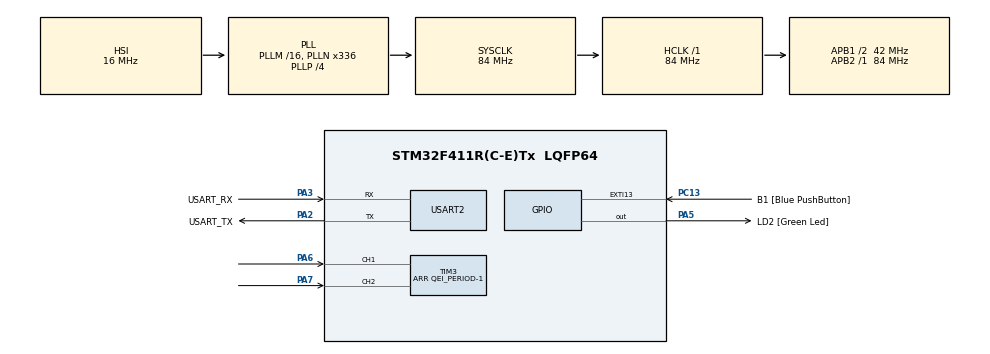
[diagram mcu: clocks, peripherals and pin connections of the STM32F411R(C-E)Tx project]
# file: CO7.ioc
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Mcu.Family=STM32F4
Mcu.Name=STM32F411R(C-E)Tx
Mcu.Package=LQFP64
Mcu.UserConstants=QEI_PERIOD,64512
NVIC.PriorityGroup=NVIC_PRIORITYGROUP_0
NVIC.TIM5_IRQn=true\:0\:0\:false\:false\:true\:true\:true\:true
PA13.GPIO_Label=TMS
PA13.Mode=Trace_Asynchronous_SW
PA13.Signal=SYS_JTMS-SWDIO
PA14.GPIO_Label=TCK
PA14.Mode=Trace_Asynchronous_SW
PA14.Signal=SYS_JTCK-SWCLK
PA2.GPIO_Label=USART_TX
PA2.Mode=Asynchronous
PA2.Signal=USART2_TX
PA3.GPIO_Label=USART_RX
PA3.Mode=Asynchronous
PA3.Signal=USART2_RX
PA5.GPIO_Label=LD2 [Green Led]
PA5.Signal=GPIO_Output
PA6.Signal=S_TIM3_CH1
PA7.Signal=S_TIM3_CH2
PB3.GPIO_Label=SWO
PB3.Mode=Trace_Asynchronous_SW
PB3.Signal=SYS_JTDO-SWO
PC13-ANTI_TAMP.GPIO_Label=B1 [Blue PushButton]
PC13-ANTI_TAMP.GPIO_ModeDefaultEXTI=GPIO_MODE_IT_FALLING
PC13-ANTI_TAMP.Signal=GPXTI13
PC14-OSC32_IN.Mode=LSE-External-Oscillator
PC14-OSC32_IN.Signal=RCC_OSC32_IN
PC15-OSC32_OUT.Mode=LSE-External-Oscillator
PC15-OSC32_OUT.Signal=RCC_OSC32_OUT
PH0\ -\ OSC_IN.Mode=HSE-External-Clock-Source
PH0\ -\ OSC_IN.Signal=RCC_OSC_IN
PH1\ -\ OSC_OUT.Mode=HSE-External-Clock-Source
PH1\ -\ OSC_OUT.Signal=RCC_OSC_OUT
ProjectManager.HeapSize=0x200
ProjectManager.StackSize=0x400
ProjectManager.TargetToolchain=STM32CubeIDE
RCC.48MHZClocksFreq_Value=84000000
RCC.AHBFreq_Value=84000000
RCC.APB1CLKDivider=RCC_HCLK_DIV2
RCC.APB1Freq_Value=42000000
RCC.APB1TimFreq_Value=84000000
RCC.APB2Freq_Value=84000000
RCC.APB2TimFreq_Value=84000000
RCC.CortexFreq_Value=84000000
RCC.FLatency-AdvancedSettings=FLASH_LATENCY_2
RCC.HCLKFreq_Value=84000000
RCC.HSE_VALUE=8000000
RCC.HSI_VALUE=16000000
RCC.PLLN=336
RCC.PLLP=RCC_PLLP_DIV4
RCC.SYSCLKFreq_VALUE=84000000
RCC.SYSCLKSource=RCC_SYSCLKSOURCE_PLLCLK
RCC.VCOOutputFreq_Value=336000000
SH.S_TIM3_CH1.0=TIM3_CH1,Encoder_Interface
SH.S_TIM3_CH2.0=TIM3_CH2,Encoder_Interface
TIM3.EncoderMode=TIM_ENCODERMODE_TI12
TIM3.Period=QEI_PERIOD-1
USART2.VirtualMode=VM_ASYNC
VP_TIM5_VS_ClockSourceINT.Mode=Internal
board=NUCLEO-F411RE

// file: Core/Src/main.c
/* USER CODE BEGIN Header */
/**
  ******************************************************************************
  * @file           : main.c
  * @brief          : Main program body
  ******************************************************************************
  * @attention
  *
  * Copyright (c) 2023 STMicroelectronics.
  * All rights reserved.
  *
  * This software is licensed under terms that can be found in the LICENSE file
  * in the root directory of this software component.
  * If no LICENSE file comes with this software, it is provided AS-IS.
  *
  ******************************************************************************
  */
/* USER CODE END Header */
#include "main.h"

TIM_HandleTypeDef htim3;
TIM_HandleTypeDef htim5;

UART_HandleTypeDef huart2;

/* USER CODE BEGIN PV */
//uint32_t QEIReadRaw;
typedef struct _QEIStructure
{
	uint32_t data[2];
	uint64_t timestamp[2];

	float QEIPosition;
	float QEIVelocity;
}QEIStructureTypedef;
QEIStructureTypedef QEIData = {0};

uint64_t _micros = 0;

/* USER CODE END PV */

void SystemClock_Config(void);
static void MX_GPIO_Init(void);
static void MX_USART2_UART_Init(void);
static void MX_TIM3_Init(void);
static void MX_TIM5_Init(void);
/* USER CODE BEGIN PFP */
inline uint64_t micros();
void QEIEncoderPositionVelocity_Update();
/* USER CODE END PFP */

int main(void)
{

  /* MCU Configuration--------------------------------------------------------*/

  /* Reset of all peripherals, Initializes the Flash interface and the Systick. */
  HAL_Init();

  /* Configure the system clock */
  SystemClock_Config();

  /* Initialize all configured peripherals */
  MX_GPIO_Init();
  MX_USART2_UART_Init();
  MX_TIM3_Init();
  MX_TIM5_Init();
  /* USER CODE BEGIN 2 */
  HAL_TIM_Encoder_Start(&htim3,TIM_CHANNEL_1|TIM_CHANNEL_2);
  HAL_TIM_Base_Start(&htim5);

  /* USER CODE END 2 */

  /* Infinite loop */
  while (1)
  {

    /* USER CODE BEGIN 3 */
//	  static uint32_t timestamp = 0;
//	  if(HAL_GetTick()>timestamp)
//	  {
//		  timestamp = HAL_GetTick() + 500;
//		  QEIReadRaw = __HAL_TIM_GET_COUNTER(&htim3);
//		  //A = (QEIReadRaw/3072)*360;
//		  printf("Position = %ld\n",QEIReadRaw);

	  static uint64_t timestamp = 0;
	  int64_t currentTime = micros();
	  if(currentTime>timestamp)
	  {
		  timestamp = currentTime + 1000000;
		  QEIEncoderPositionVelocity_Update();
	  }
  }
  /* USER CODE END 3 */
}

void SystemClock_Config(void)
{
  RCC_OscInitTypeDef RCC_OscInitStruct = {0};
  RCC_ClkInitTypeDef RCC_ClkInitStruct = {0};

  /** Configure the main internal regulator output voltage
  */
  __HAL_RCC_PWR_CLK_ENABLE();
  __HAL_PWR_VOLTAGESCALING_CONFIG(PWR_REGULATOR_VOLTAGE_SCALE1);

  /** Initializes the RCC Oscillators according to the specified parameters
  * in the RCC_OscInitTypeDef structure.
  */
  RCC_OscInitStruct.OscillatorType = RCC_OSCILLATORTYPE_HSI;
  RCC_OscInitStruct.HSIState = RCC_HSI_ON;
  RCC_OscInitStruct.HSICalibrationValue = RCC_HSICALIBRATION_DEFAULT;
  RCC_OscInitStruct.PLL.PLLState = RCC_PLL_ON;
  RCC_OscInitStruct.PLL.PLLSource = RCC_PLLSOURCE_HSI;
  RCC_OscInitStruct.PLL.PLLM = 16;
  RCC_OscInitStruct.PLL.PLLN = 336;
  RCC_OscInitStruct.PLL.PLLP = RCC_PLLP_DIV4;
  RCC_OscInitStruct.PLL.PLLQ = 4;
  if (HAL_RCC_OscConfig(&RCC_OscInitStruct) != HAL_OK)
  {
    Error_Handler();
  }

  /** Initializes the CPU, AHB and APB buses clocks
  */
  RCC_ClkInitStruct.ClockType = RCC_CLOCKTYPE_HCLK|RCC_CLOCKTYPE_SYSCLK
                              |RCC_CLOCKTYPE_PCLK1|RCC_CLOCKTYPE_PCLK2;
  RCC_ClkInitStruct.SYSCLKSource = RCC_SYSCLKSOURCE_PLLCLK;
  RCC_ClkInitStruct.AHBCLKDivider = RCC_SYSCLK_DIV1;
  RCC_ClkInitStruct.APB1CLKDivider = RCC_HCLK_DIV2;
  RCC_ClkInitStruct.APB2CLKDivider = RCC_HCLK_DIV1;

  if (HAL_RCC_ClockConfig(&RCC_ClkInitStruct, FLASH_LATENCY_2) != HAL_OK)
  {
    Error_Handler();
  }
}

static void MX_TIM3_Init(void)
{

  TIM_Encoder_InitTypeDef sConfig = {0};
  TIM_MasterConfigTypeDef sMasterConfig = {0};

  htim3.Instance = TIM3;
  htim3.Init.Prescaler = 0;
  htim3.Init.CounterMode = TIM_COUNTERMODE_UP;
  htim3.Init.Period = QEI_PERIOD-1;
  htim3.Init.ClockDivision = TIM_CLOCKDIVISION_DIV1;
  htim3.Init.AutoReloadPreload = TIM_AUTORELOAD_PRELOAD_DISABLE;
  sConfig.EncoderMode = TIM_ENCODERMODE_TI12;
  sConfig.IC1Polarity = TIM_ICPOLARITY_RISING;
  sConfig.IC1Selection = TIM_ICSELECTION_DIRECTTI;
  sConfig.IC1Prescaler = TIM_ICPSC_DIV1;
  sConfig.IC1Filter = 0;
  sConfig.IC2Polarity = TIM_ICPOLARITY_RISING;
  sConfig.IC2Selection = TIM_ICSELECTION_DIRECTTI;
  sConfig.IC2Prescaler = TIM_ICPSC_DIV1;
  sConfig.IC2Filter = 0;
  if (HAL_TIM_Encoder_Init(&htim3, &sConfig) != HAL_OK)
  {
    Error_Handler();
  }
  sMasterConfig.MasterOutputTrigger = TIM_TRGO_RESET;
  sMasterConfig.MasterSlaveMode = TIM_MASTERSLAVEMODE_DISABLE;
  if (HAL_TIMEx_MasterConfigSynchronization(&htim3, &sMasterConfig) != HAL_OK)
  {
    Error_Handler();
  }

}

static void MX_TIM5_Init(void)
{

  TIM_ClockConfigTypeDef sClockSourceConfig = {0};
  TIM_MasterConfigTypeDef sMasterConfig = {0};

  htim5.Instance = TIM5;
  htim5.Init.Prescaler = 0;
  htim5.Init.CounterMode = TIM_COUNTERMODE_UP;
  htim5.Init.Period = 4294967295;
  htim5.Init.ClockDivision = TIM_CLOCKDIVISION_DIV1;
  htim5.Init.AutoReloadPreload = TIM_AUTORELOAD_PRELOAD_DISABLE;
  if (HAL_TIM_Base_Init(&htim5) != HAL_OK)
  {
    Error_Handler();
  }
  sClockSourceConfig.ClockSource = TIM_CLOCKSOURCE_INTERNAL;
  if (HAL_TIM_ConfigClockSource(&htim5, &sClockSourceConfig) != HAL_OK)
  {
    Error_Handler();
  }
  sMasterConfig.MasterOutputTrigger = TIM_TRGO_RESET;
  sMasterConfig.MasterSlaveMode = TIM_MASTERSLAVEMODE_DISABLE;
  if (HAL_TIMEx_MasterConfigSynchronization(&htim5, &sMasterConfig) != HAL_OK)
  {
    Error_Handler();
  }

}

static void MX_USART2_UART_Init(void)
{

  huart2.Instance = USART2;
  huart2.Init.BaudRate = 115200;
  huart2.Init.WordLength = UART_WORDLENGTH_8B;
  huart2.Init.StopBits = UART_STOPBITS_1;
  huart2.Init.Parity = UART_PARITY_NONE;
  huart2.Init.Mode = UART_MODE_TX_RX;
  huart2.Init.HwFlowCtl = UART_HWCONTROL_NONE;
  huart2.Init.OverSampling = UART_OVERSAMPLING_16;
  if (HAL_UART_Init(&huart2) != HAL_OK)
  {
    Error_Handler();
  }

}

static void MX_GPIO_Init(void)
{
  GPIO_InitTypeDef GPIO_InitStruct = {0};

  /* GPIO Ports Clock Enable */
  __HAL_RCC_GPIOC_CLK_ENABLE();
  __HAL_RCC_GPIOH_CLK_ENABLE();
  __HAL_RCC_GPIOA_CLK_ENABLE();
  __HAL_RCC_GPIOB_CLK_ENABLE();

  /*Configure GPIO pin Output Level */
  HAL_GPIO_WritePin(LD2_GPIO_Port, LD2_Pin, GPIO_PIN_RESET);

  /*Configure GPIO pin : B1_Pin */
  GPIO_InitStruct.Pin = B1_Pin;
  GPIO_InitStruct.Mode = GPIO_MODE_IT_FALLING;
  GPIO_InitStruct.Pull = GPIO_NOPULL;
  HAL_GPIO_Init(B1_GPIO_Port, &GPIO_InitStruct);

  /*Configure GPIO pin : LD2_Pin */
  GPIO_InitStruct.Pin = LD2_Pin;
  GPIO_InitStruct.Mode = GPIO_MODE_OUTPUT_PP;
  GPIO_InitStruct.Pull = GPIO_NOPULL;
  GPIO_InitStruct.Speed = GPIO_SPEED_FREQ_LOW;
  HAL_GPIO_Init(LD2_GPIO_Port, &GPIO_InitStruct);

}

/* USER CODE BEGIN 4 */
int _write(int file, char *ptr, int len)
{
	int i;
	for(i = 0; i<len; i++)
	{
		ITM_SendChar(*ptr++);
	}
	return len;
}

void HAL_TIM_PeriodElapsedCallback(TIM_HandleTypeDef *htim)
{
	if(htim == &htim5)
	{
		_micros += UINT32_MAX;
	}
}

uint64_t micros()
{
	return __HAL_TIM_GET_COUNTER(&htim5)+_micros;
}

void QEIEncoderPositionVelocity_Update()
{
	QEIData.timestamp[0] = micros();
	uint32_t counterPosition = __HAL_TIM_GET_COUNTER(&htim3);
	QEIData.data[0] = counterPosition;

	QEIData.QEIPosition = counterPosition % 3072;

	int32_t diffPosition = QEIData.data[0] - QEIData.data[1];
	float difftime = (QEIData.timestamp[0] - QEIData.timestamp[1]);

	if(diffPosition > QEI_PERIOD>>1) diffPosition -= QEI_PERIOD;
	if(diffPosition < QEI_PERIOD>>1) diffPosition += QEI_PERIOD;

	QEIData.QEIVelocity = (diffPosition*1000000)/difftime;

	QEIData.data[1] = QEIData.data[0];
	QEIData.timestamp[1] = QEIData.timestamp[0];
}
/* USER CODE END 4 */

void Error_Handler(void)
{
  __disable_irq();
  while (1)
  {
  }
}
